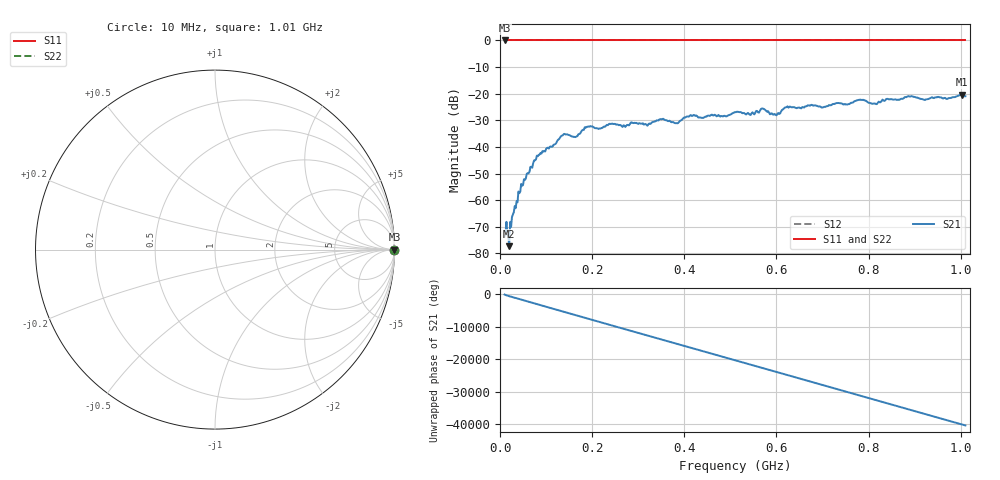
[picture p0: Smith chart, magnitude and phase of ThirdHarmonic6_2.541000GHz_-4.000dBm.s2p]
! 8/17/2025 5:07:47 AM
! C:\ANRITSUVNA\TEMP\TEMP.S2P
! CHANNEL.1
! TR.MEASUREMENT
! RAW.DATA
! RF.CORRECTION.OFF
! AVERAGING.OFF
! IF.BANDWIDTH: 5KHZ
! SWEEPTYPE:  FREQ.SWEEP(Linear)
! Reference Plane Port Info
! PORT:  PORT1  PORT2
! DISTANCE:  0  m  0  m
! TIME:  0  s  0  s
! PHASE.OFFSET:  0  deg.  0  deg.
! LOSS:  0  dB  0  dB
! REF.LOSS:  0  dB  0  dB
! REF.FREQ:  0  Hz  0  Hz
! Power Info
! POWER:  -20  dBm  -20  dBm
! EFF.POWER:  -20  dBm  -20  dBm
! SOURCE.ATTEN:  0  dB  0  dB
! TEST.ATTEN:  0  dB  0  dB
# GHZ S RI R 50.0
! FREQ.GHZ  S11RE  S11IM  S21RE  S21IM  S12RE  S12IM  S22RE  S22IM
!; PortSelection: Port_12
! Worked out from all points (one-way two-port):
!   501 points, 10 MHz to 1.01 GHz, reference 50 ohm
!   highest |S21| = -20.33 dB at 1.002 GHz (marker M1); lowest = -77.3 dB at 20 MHz (marker M2)
!   lowest |S11| = 0.0 dB at 10 MHz (marker M3)
!   |S11| at or under -10 dB: nowhere
!   |S22| runs from 0.0 to 0.0 dB; largest |S21 - S12| = 1.1
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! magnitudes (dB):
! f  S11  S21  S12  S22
! 10 MHz  0.0  -73.7  0.0  0.0
! 20 MHz  0.0  -77.3  0.0  0.0
! 44 MHz  0.0  -56.8  0.0  0.0
! 78 MHz  0.0  -44.7  0.0  0.0
! 136 MHz  0.0  -35.7  0.0  0.0
! 164 MHz  0.0  -36.3  0.0  0.0
! 178 MHz  0.0  -33.8  0.0  0.0
! 192 MHz  0.0  -32.3  0.0  0.0
! 344 MHz  0.0  -30.1  0.0  0.0
! 382 MHz  0.0  -31.1  0.0  0.0
! 416 MHz  0.0  -28.4  0.0  0.0
! 510 MHz  0.0  -26.9  0.0  0.0
! 548 MHz  0.0  -27.0  0.0  0.0
! 570 MHz  0.0  -25.6  0.0  0.0
! 596 MHz  0.0  -27.6  0.0  0.0
! 620 MHz  0.0  -25.1  0.0  0.0
! 678 MHz  0.0  -24.3  0.0  0.0
! 784 MHz  0.0  -22.3  0.0  0.0
! 814 MHz  0.0  -23.7  0.0  0.0
! 844 MHz  0.0  -22.1  0.0  0.0
! 1.002 GHz  0.0  -20.3  0.0  0.0
! 1.01 GHz  0.0  -21.0  0.0  0.0
